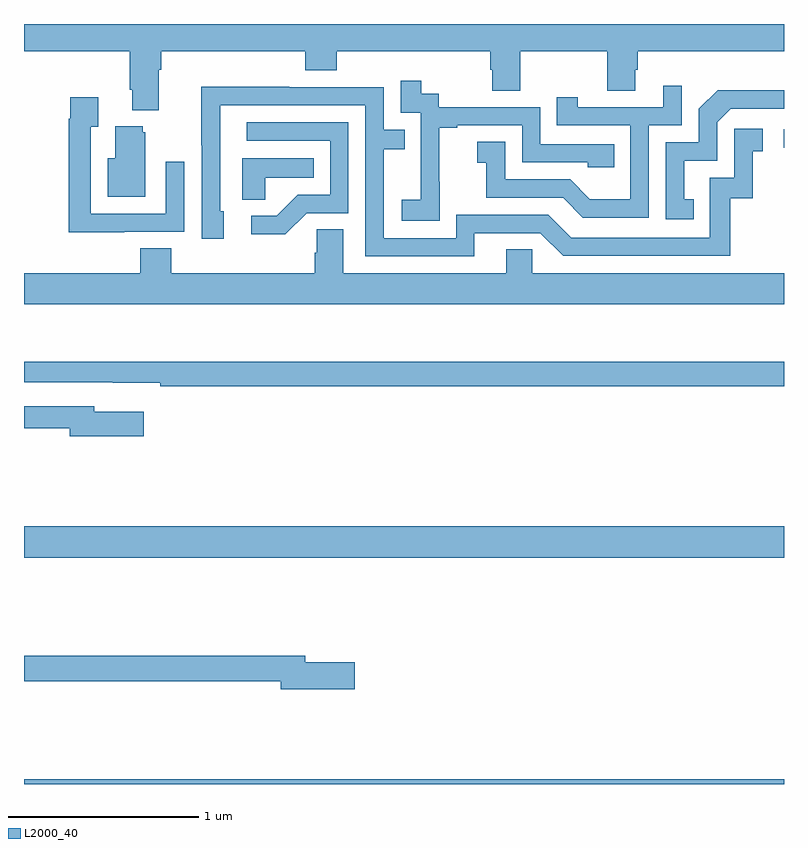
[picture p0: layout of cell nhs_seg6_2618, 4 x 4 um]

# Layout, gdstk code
import gdstk
lib = gdstk.Library(unit=1e-6, precision=1e-09)
def R(c, l, rs):  # rectangles x0, y0, x1, y1
    for r in rs: c.add(gdstk.rectangle(r[:2], r[2:], *l))
def P(c, l, *ps):  # polygons
    for p in ps: c.add(gdstk.Polygon(p, *l))
L2000_40 = (2000, 40)

nhs_seg6_2618 = lib.new_cell('nhs_seg6_2618')
R(nhs_seg6_2618, L2000_40, [(267,923.5,271,923.524), (267,924.692,271,924.856), (270.999,926.85,271,926.946)])
P(nhs_seg6_2618, L2000_40, [(267.709,927.26),(267.722,927.26),(267.722,927.356),(268.481,927.356),(268.481,927.257),(268.646,927.257),(268.646,927.356),(269.453,927.356),(269.453,927.258),(269.465,927.258),(269.465,927.148),(269.613,927.148),(269.613,927.356),(270.07,927.356),(270.07,927.148),(270.217,927.148),(270.217,927.258),(270.23,927.258),(270.23,927.356),(271,927.356),(271,927.5),(267,927.5),(267,927.356),(267.557,927.356),(267.557,927.154),(267.569,927.154),(267.569,927.047),(267.709,927.047)],
  [(269.187,926.671),(269.186,926.671),(269.186,926.955),(269.281,926.955),(269.281,926.967),(269.622,926.967),(269.622,926.772),(269.967,926.772),(269.967,926.745),(270.107,926.745),(270.107,926.868),(269.718,926.868),(269.718,927.063),(269.184,927.063),(269.184,927.132),(269.092,927.132),(269.092,927.202),(268.983,927.202),(268.983,927.033),(269.088,927.033),(269.088,926.804),(269.087,926.804),(269.087,926.575),(268.989,926.575),(268.989,926.465),(269.187,926.465)],
  [(270.288,926.967),(270.462,926.967),(270.462,927.175),(270.365,927.175),(270.365,927.063),(269.914,927.063),(269.914,927.115),(269.803,927.115),(269.803,926.967),(270.192,926.967),(270.192,926.578),(269.978,926.578),(269.874,926.682),(269.532,926.682),(269.532,926.881),(269.385,926.881),(269.385,926.771),(269.434,926.771),(269.434,926.586),(269.837,926.586),(269.942,926.481),(270.288,926.481)],
  [(269.371,926.4),(269.718,926.4),(269.838,926.28),(270.718,926.28),(270.718,926.583),(270.836,926.583),(270.836,926.829),(270.889,926.829),(270.889,926.95),(270.738,926.95),(270.738,926.691),(270.609,926.691),(270.609,926.376),(269.88,926.376),(269.76,926.496),(269.274,926.496),(269.274,926.373),(268.893,926.373),(268.893,926.842),(269.003,926.842),(269.003,926.943),(268.893,926.943),(268.893,927.168),(268.397,927.168),(268.397,927.17),(267.934,927.17),(267.934,926.863),(267.936,926.863),(267.936,926.37),(268.051,926.37),(268.051,926.514),(268.032,926.514),(268.032,927.072),(268.797,927.072),(268.797,926.277),(269.371,926.277)],
  [(270.524,926.577),(270.475,926.577),(270.475,926.781),(270.648,926.781),(270.648,926.982),(270.72,927.054),(271,927.054),(271,927.152),(270.65,927.152),(270.552,927.054),(270.552,926.877),(270.378,926.877),(270.378,926.472),(270.524,926.472)],
  [(267.527,926.406),(267.843,926.406),(267.843,926.776),(267.747,926.776),(267.747,926.502),(267.351,926.502),(267.351,926.959),(267.391,926.959),(267.391,927.115),(267.243,927.115),(267.243,927.002),(267.235,927.002),(267.235,926.405),(267.527,926.405)],
  [(268.488,926.505),(268.707,926.505),(268.707,926.982),(268.173,926.982),(268.173,926.886),(268.611,926.886),(268.611,926.601),(268.442,926.601),(268.331,926.49),(268.197,926.49),(268.197,926.393),(268.375,926.393)],
  [(267.637,926.931),(267.626,926.931),(267.626,926.962),(267.479,926.962),(267.479,926.794),(267.44,926.794),(267.44,926.591),(267.637,926.591)],
  [(268.269,926.69),(268.526,926.69),(268.526,926.794),(268.148,926.794),(268.148,926.575),(268.269,926.575)],
  [(271,926.188),(269.676,926.188),(269.676,926.315),(269.537,926.315),(269.537,926.188),(268.681,926.188),(268.681,926.42),(268.542,926.42),(268.542,926.297),(268.529,926.297),(268.529,926.188),(267.776,926.188),(267.776,926.321),(267.611,926.321),(267.611,926.188),(267,926.188),(267,926.024),(271,926.024)],
  [(271,925.723),(267,925.723),(267,925.614),(267.466,925.614),(267.466,925.613),(267.718,925.613),(267.718,925.594),(271,925.594)],
  [(267.631,925.459),(267.37,925.459),(267.37,925.488),(267,925.488),(267,925.372),(267.242,925.372),(267.242,925.33),(267.631,925.33)],
  [(268.741,924.14),(268.48,924.14),(268.48,924.176),(267,924.176),(267,924.04),(268.352,924.04),(268.352,923.998),(268.741,923.998)])

lib.write_gds('nhs_seg6_2618.gds')
